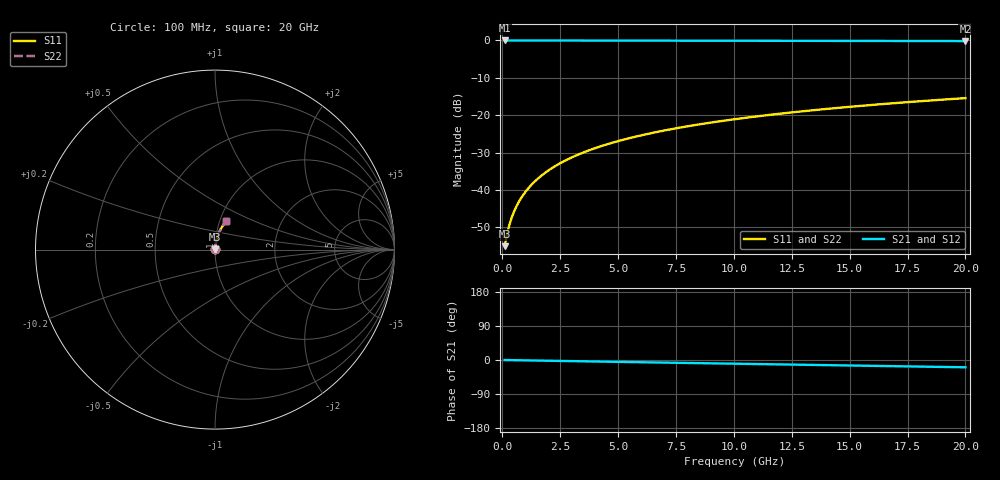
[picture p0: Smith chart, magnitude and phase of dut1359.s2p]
! Touchstone file exported from HFSS 2026.1.0
!  File:  C:/ffzhzh/LocalFiles/Ansys_Project_Files/temp_train_TMRDL_1359_1783165656_55132.aedt
!  Generated:  07:48:49 PM Jul  4, 2026
!  Design:  TMRDL
!  Project:  temp_train_TMRDL_1359_1783165656_55132
! Variables:
!  h_bsmrdl = 2um
!  h_ox = 20um
!  h_rdl = 5um
!  h_sub = 80um
!  h_tmrdl = 3.33um
!  h_tsv = 80um
!  h_via = 3um
!  l_bsmrdl = 300um
!  l_sub = 663.8um
!  l_tmrdl = 263.8um
!  m_sub = 200um
!  pitch = 42.9um
!  r_tsv = 6um
!  s_tmrdl = 10um
!  w_bsmrdl = 18um
!  w_sub = 500um
!  w_tmrdl = 23.33um
!  x_tsv_center1 = 275.465um
!  x_tsv_center2 = 593.465um
!  x_tsv_center3 = 880.595um
!  x_tsv_center4 = 1198.595um
!  x_tsv_center5 = 1485.725um
!  x_tsv_center6 = 1803.725um
# GHz S MA R 50.000000
! Terminal data exported
! Port[1] = TM_RDL1_1_T1
! Port[2] = TM_RDL1_1_T2
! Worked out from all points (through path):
!   200 points, 100 MHz to 20 GHz, reference 50 ohm
!   highest |S21| = -0.01 dB at 100 MHz (marker M1); lowest = -0.2 dB at 20 GHz (marker M2)
!   group delay of S21, straight-line fit = 2.67 ps
!   lowest |S11| = -55.0 dB at 100 MHz (marker M3), VSWR 1.00, Z = 50.1 + j0.103 ohm
!   |S11| at or under -10 dB: start of sweep to end of sweep
!   |S22| runs from -55.0 to -15.4 dB; largest |S21 - S12| = 4e-15
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0.1  0.001774 35.2  0.9986 -0.1  0.9986 -0.1  0.001774 35.2
! Gamma 0 0 0 0
! Port Impedance 50 0 50 0
0.2  0.002525 52.8  0.9985 -0.2  0.9985 -0.2  0.002525 52.8
0.3  0.003369 61.3  0.9984 -0.3  0.9984 -0.3  0.003369 61.3
0.4  0.004227 66.3  0.9983 -0.4  0.9983 -0.4  0.004227 66.3
0.5  0.005087 69.6  0.9983 -0.5  0.9983 -0.5  0.005087 69.6
0.6  0.005949 72.0  0.9982 -0.6  0.9982 -0.6  0.005949 72.0
0.8  0.007684 75.3  0.9981 -0.8  0.9981 -0.8  0.007684 75.3
1.1  0.01032 78.3  0.9981 -1.1  0.9981 -1.1  0.01032 78.3
1.3  0.01209 79.5  0.998 -1.3  0.998 -1.3  0.01209 79.5
1.6  0.01476 80.7  0.9979 -1.6  0.9979 -1.6  0.01476 80.7
2.1  0.01923 81.7  0.9978 -2.1  0.9978 -2.1  0.01923 81.7
2.7  0.0246 82.2  0.9975 -2.7  0.9975 -2.7  0.0246 82.2
3.5  0.03174 82.3  0.9972 -3.5  0.9972 -3.5  0.03174 82.3
4.2  0.03796 82.0  0.9968 -4.2  0.9968 -4.2  0.03796 82.0
5  0.04503 81.6  0.9963 -4.9  0.9963 -4.9  0.04503 81.6
5.9  0.05292 81.0  0.9956 -5.8  0.9956 -5.8  0.05292 81.0
6.8  0.06075 80.3  0.9949 -6.7  0.9949 -6.7  0.06075 80.3
8.3  0.07367 79.0  0.9936 -8.1  0.9936 -8.1  0.07367 79.0
10.1  0.08895 77.5  0.9919 -9.9  0.9919 -9.9  0.08895 77.5
13.4  0.1164 74.6  0.9883 -13.0  0.9883 -13.0  0.1164 74.6
16.7  0.1432 71.6  0.9842 -16.1  0.9842 -16.1  0.1432 71.6
20  0.1692 68.7  0.9795 -19.2  0.9795 -19.2  0.1692 68.7
